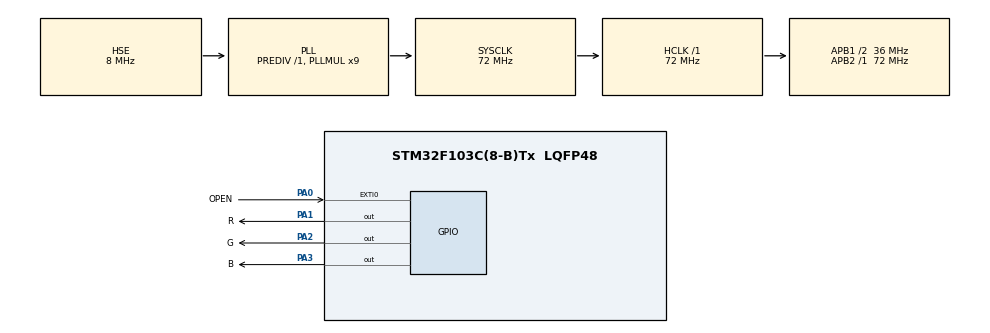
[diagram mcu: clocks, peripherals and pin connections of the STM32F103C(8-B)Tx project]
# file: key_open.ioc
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Mcu.Family=STM32F1
Mcu.Name=STM32F103C(8-B)Tx
Mcu.Package=LQFP48
NVIC.EXTI0_IRQn=true\:0\:0\:false\:false\:true\:true\:true
NVIC.PriorityGroup=NVIC_PRIORITYGROUP_4
PA0-WKUP.GPIO_Label=OPEN
PA0-WKUP.Signal=GPXTI0
PA1.GPIO_Label=R
PA1.GPIO_PuPd=GPIO_PULLDOWN
PA1.Signal=GPIO_Output
PA13.Mode=Serial_Wire
PA13.Signal=SYS_JTMS-SWDIO
PA14.Mode=Serial_Wire
PA14.Signal=SYS_JTCK-SWCLK
PA2.GPIO_Label=G
PA2.GPIO_PuPd=GPIO_PULLDOWN
PA2.Signal=GPIO_Output
PA3.GPIO_Label=B
PA3.GPIO_PuPd=GPIO_PULLDOWN
PA3.Signal=GPIO_Output
PC14-OSC32_IN.Mode=LSE-External-Oscillator
PC14-OSC32_IN.Signal=RCC_OSC32_IN
PC15-OSC32_OUT.Mode=LSE-External-Oscillator
PC15-OSC32_OUT.Signal=RCC_OSC32_OUT
PD0-OSC_IN.Mode=HSE-External-Oscillator
PD0-OSC_IN.Signal=RCC_OSC_IN
PD1-OSC_OUT.Mode=HSE-External-Oscillator
PD1-OSC_OUT.Signal=RCC_OSC_OUT
ProjectManager.HeapSize=0x200
ProjectManager.StackSize=0x400
ProjectManager.TargetToolchain=SW4STM32
RCC.AHBFreq_Value=72000000
RCC.APB1CLKDivider=RCC_HCLK_DIV2
RCC.APB1Freq_Value=36000000
RCC.APB1TimFreq_Value=72000000
RCC.APB2Freq_Value=72000000
RCC.APB2TimFreq_Value=72000000
RCC.HCLKFreq_Value=72000000
RCC.PLLMUL=RCC_PLL_MUL9
RCC.PLLSourceVirtual=RCC_PLLSOURCE_HSE
RCC.SYSCLKFreq_VALUE=72000000
RCC.SYSCLKSource=RCC_SYSCLKSOURCE_PLLCLK
RCC.USBFreq_Value=72000000
board=custom

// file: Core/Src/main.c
/* USER CODE BEGIN Header */
/**
  ******************************************************************************
  * @file           : main.c
  * @brief          : Main program body
  ******************************************************************************
  * @attention
  *
  * <h2><center>&copy; Copyright (c) 2022 STMicroelectronics.
  * All rights reserved.</center></h2>
  *
  * This software component is licensed by ST under BSD 3-Clause license,
  * the "License"; You may not use this file except in compliance with the
  * License. You may obtain a copy of the License at:
  *                        opensource.org/licenses/BSD-3-Clause
  *
  ******************************************************************************
  */
/* USER CODE END Header */
#include "main.h"
#include "gpio.h"

void SystemClock_Config(void);

/* USER CODE BEGIN 0 */
void StandbyMode_Measure(void)
{

    /* Enable Power Clock*/
    __HAL_RCC_PWR_CLK_ENABLE();

    /* Allow access to Backup */
    HAL_PWR_EnableBkUpAccess();

    /* Reset RTC Domain */
    __HAL_RCC_BACKUPRESET_FORCE();
    __HAL_RCC_BACKUPRESET_RELEASE();

    /* Disable all used wakeup sources: Pin1(PA.0) */
    HAL_PWR_DisableWakeUpPin(PWR_WAKEUP_PIN1);

    /* Clear all related wakeup flags */
    __HAL_PWR_CLEAR_FLAG(PWR_FLAG_WU);

    /* Re-enable all used wakeup sources: Pin1(PA.0) */
    HAL_PWR_EnableWakeUpPin(PWR_WAKEUP_PIN1);

    /*## Enter Standby Mode ####################################################*/
    /* Request to enter STANDBY mode  */
    HAL_PWR_EnterSTANDBYMode();

}
void Sys_Enter_Standby(void)
{
    //关闭所有外设(根据实际情况写)
    __HAL_RCC_APB2_FORCE_RESET();
    //  __HAL_RCC_GPIOC_CLK_DISABLE();
    //__HAL_RCC_GPIOD_CLK_DISABLE();
    //__HAL_RCC_GPIOA_CLK_DISABLE();
    //__HAL_RCC_GPIOB_CLK_DISABLE();
    StandbyMode_Measure();//进入待机模式
}

uint8_t PWR_Check_Standby(void)
{
    uint8_t press_cnt =0;//记录按下的次数
    uint8_t release_cnt =0;//记录松开的次数

    HAL_GPIO_WritePin(OPEN_GPIO_Port, OPEN_Pin, GPIO_PIN_RESET);
    while(1)//死循环，由return结束
    {
        HAL_Delay(20);//延迟一段时间再检测

        if(HAL_GPIO_ReadPin(GPIOA,GPIO_PIN_0) == GPIO_PIN_SET)    //检测到按下按键
        {
            press_cnt++;//记录按下次数
            release_cnt=0;//清除按键释放记录
            if(press_cnt>=100)//按下时间足够
            {
                HAL_GPIO_WritePin(OPEN_GPIO_Port, OPEN_Pin, GPIO_PIN_SET);
                //printf("系统进入待机模式，按下WKUP可退出待机模式\n");
                return 1;//检测到按键被时间长按下
            }
        }
        else
        {
            release_cnt++;//记录释放次数
            if(release_cnt>5)//连续检测到释放超过5次
            {
                HAL_GPIO_WritePin(OPEN_GPIO_Port, OPEN_Pin, GPIO_PIN_RESET);
                return 0;//按下时间太短，不是按键长按操作
            }
        }
    }

}
void WKUP_Init(void)
{
    GPIO_InitTypeDef GPIO_InitStruct;

    /* GPIO Ports Clock Enable */
    __HAL_RCC_GPIOA_CLK_ENABLE();

    /*Configure GPIO pin : PA0 */
    GPIO_InitStruct.Pin = GPIO_PIN_0;
    GPIO_InitStruct.Mode = GPIO_MODE_IT_RISING;
    GPIO_InitStruct.Pull = GPIO_PULLDOWN;
    HAL_GPIO_Init(GPIOA, &GPIO_InitStruct);

    //检查是否是正常开机
    if(PWR_Check_Standby()==0)
    {
        Sys_Enter_Standby();//不是开机，进入待机模式
    }

    /* EXTI interrupt init*/
    HAL_NVIC_SetPriority(EXTI0_IRQn, 2, 2);
    HAL_NVIC_EnableIRQ(EXTI0_IRQn);

}

/* USER CODE END 0 */

int main(void)
{

  /* MCU Configuration--------------------------------------------------------*/

  /* Reset of all peripherals, Initializes the Flash interface and the Systick. */
  HAL_Init();

  /* Configure the system clock */
  SystemClock_Config();

  /* Initialize all configured peripherals */
  MX_GPIO_Init();
  /* USER CODE BEGIN 2 */
  WKUP_Init();
  /* USER CODE END 2 */

  /* Infinite loop */
  while (1)
  {
      HAL_GPIO_TogglePin(R_GPIO_Port, R_Pin);
      HAL_Delay(250);
  }
}

void SystemClock_Config(void)
{
  RCC_OscInitTypeDef RCC_OscInitStruct = {0};
  RCC_ClkInitTypeDef RCC_ClkInitStruct = {0};

  /** Initializes the RCC Oscillators according to the specified parameters
  * in the RCC_OscInitTypeDef structure.
  */
  RCC_OscInitStruct.OscillatorType = RCC_OSCILLATORTYPE_HSE;
  RCC_OscInitStruct.HSEState = RCC_HSE_ON;
  RCC_OscInitStruct.HSEPredivValue = RCC_HSE_PREDIV_DIV1;
  RCC_OscInitStruct.HSIState = RCC_HSI_ON;
  RCC_OscInitStruct.PLL.PLLState = RCC_PLL_ON;
  RCC_OscInitStruct.PLL.PLLSource = RCC_PLLSOURCE_HSE;
  RCC_OscInitStruct.PLL.PLLMUL = RCC_PLL_MUL9;
  if (HAL_RCC_OscConfig(&RCC_OscInitStruct) != HAL_OK)
  {
    Error_Handler();
  }
  /** Initializes the CPU, AHB and APB buses clocks
  */
  RCC_ClkInitStruct.ClockType = RCC_CLOCKTYPE_HCLK|RCC_CLOCKTYPE_SYSCLK
                              |RCC_CLOCKTYPE_PCLK1|RCC_CLOCKTYPE_PCLK2;
  RCC_ClkInitStruct.SYSCLKSource = RCC_SYSCLKSOURCE_PLLCLK;
  RCC_ClkInitStruct.AHBCLKDivider = RCC_SYSCLK_DIV1;
  RCC_ClkInitStruct.APB1CLKDivider = RCC_HCLK_DIV2;
  RCC_ClkInitStruct.APB2CLKDivider = RCC_HCLK_DIV1;

  if (HAL_RCC_ClockConfig(&RCC_ClkInitStruct, FLASH_LATENCY_2) != HAL_OK)
  {
    Error_Handler();
  }
}

void Error_Handler(void)
{
  __disable_irq();
  while (1)
  {
  }
}

/************************ (C) COPYRIGHT STMicroelectronics *****END OF FILE****/
